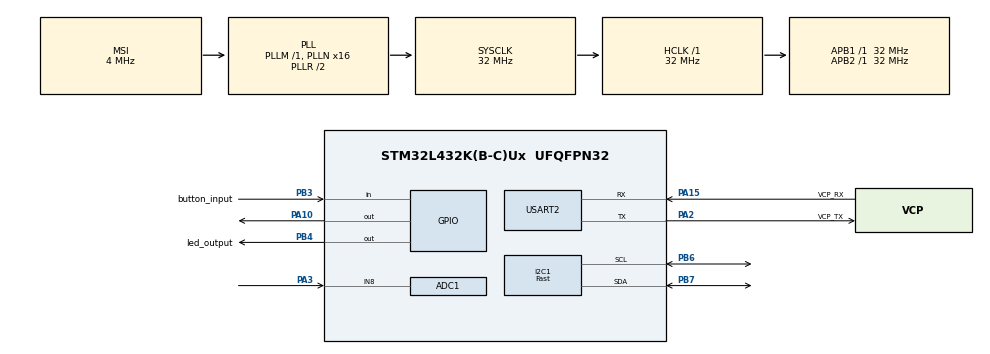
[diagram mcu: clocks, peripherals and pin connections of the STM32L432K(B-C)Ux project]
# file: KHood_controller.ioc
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ADC1.Channel-0\#ChannelRegularConversion=ADC_CHANNEL_8
ADC1.NbrOfConversionFlag=1
ADC1.master=1
I2C1.I2C_Speed_Mode=I2C_Fast
I2C1.Timing=0x00300F38
Mcu.Family=STM32L4
Mcu.Name=STM32L432K(B-C)Ux
Mcu.Package=UFQFPN32
NVIC.PriorityGroup=NVIC_PRIORITYGROUP_4
PA0.GPIO_Label=MCO [High speed clock in]
PA0.Mode=HSE-External-Clock-Source-for-LittleOrca
PA0.Signal=RCC_CK_IN
PA10.Signal=GPIO_Output
PA13\ (JTMS-SWDIO).GPIO_Label=SWDIO
PA13\ (JTMS-SWDIO).Mode=Serial_Wire
PA13\ (JTMS-SWDIO).Signal=SYS_JTMS-SWDIO
PA14\ (JTCK-SWCLK).GPIO_Label=SWCLK
PA14\ (JTCK-SWCLK).Mode=Serial_Wire
PA14\ (JTCK-SWCLK).Signal=SYS_JTCK-SWCLK
PA15\ (JTDI).GPIO_Label=VCP_RX
PA15\ (JTDI).Mode=Asynchronous
PA15\ (JTDI).Signal=USART2_RX
PA2.GPIO_Label=VCP_TX
PA2.Mode=Asynchronous
PA2.Signal=USART2_TX
PA3.GPIO_Mode=GPIO_MODE_ANALOG_ADC_CONTROL
PA3.GPIO_PuPd=GPIO_NOPULL
PA3.Signal=ADCx_IN8
PB3\ (JTDO-TRACESWO).GPIO_Label=button_input
PB3\ (JTDO-TRACESWO).Signal=GPIO_Input
PB4\ (NJTRST).GPIO_Label=led_output
PB4\ (NJTRST).Signal=GPIO_Output
PB6.Mode=I2C
PB6.Signal=I2C1_SCL
PB7.Mode=I2C
PB7.Signal=I2C1_SDA
PC14-OSC32_IN\ (PC14).Mode=LSE-External-Oscillator
PC14-OSC32_IN\ (PC14).Signal=RCC_OSC32_IN
PC15-OSC32_OUT\ (PC15).Mode=LSE-External-Oscillator
PC15-OSC32_OUT\ (PC15).Signal=RCC_OSC32_OUT
ProjectManager.HeapSize=0x200
ProjectManager.StackSize=0x400
ProjectManager.TargetToolchain=STM32CubeIDE
RCC.ADCFreq_Value=32000000
RCC.AHBFreq_Value=32000000
RCC.APB1Freq_Value=32000000
RCC.APB1TimFreq_Value=32000000
RCC.APB2Freq_Value=32000000
RCC.APB2TimFreq_Value=32000000
RCC.CortexFreq_Value=32000000
RCC.HCLKFreq_Value=32000000
RCC.HSE_VALUE=8000000
RCC.HSI16_VALUE=16000000
RCC.HSI48_VALUE=48000000
RCC.HSI_VALUE=16000000
RCC.MSI_VALUE=4000000
RCC.PLLMUL=RCC_PLLMUL_4
RCC.PLLN=16
RCC.PLLSAI1N=16
RCC.SYSCLKFreq_VALUE=32000000
RCC.SYSCLKSource=RCC_SYSCLKSOURCE_PLLCLK
RCC.USBFreq_Value=32000000
RCC.VCOOutputFreq_Value=64000000
SH.ADCx_IN8.0=ADC1_IN8,IN8-Single-Ended
USART2.VirtualMode-Asynchronous=VM_ASYNC
board=NUCLEO-L432KC

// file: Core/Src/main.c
/* USER CODE BEGIN Header */
/**
  ******************************************************************************
  * @file           : main.c
  * @brief          : Main program body
  ******************************************************************************
  * @attention
  *
  * Copyright (c) 2023 STMicroelectronics.
  * All rights reserved.
  *
  * This software is licensed under terms that can be found in the LICENSE file
  * in the root directory of this software component.
  * If no LICENSE file comes with this software, it is provided AS-IS.
  *
  ******************************************************************************
  */
/* USER CODE END Header */
#include "main.h"

/* USER CODE BEGIN Includes */
#include "ssd1306.h"
#include "fonts.h"
#include "test.h"
#include "SHT31.h"
#include <stdio.h>
/* USER CODE END Includes */

ADC_HandleTypeDef hadc1;

I2C_HandleTypeDef hi2c1;

UART_HandleTypeDef huart2;

/* USER CODE BEGIN PV */
void SystemClock_Config(void);
static void MX_GPIO_Init(void);
static void MX_USART2_UART_Init(void);
static void MX_I2C1_Init(void);
/* USER CODE END PV */

void SystemClock_Config(void);
static void MX_GPIO_Init(void);
static void MX_USART2_UART_Init(void);
static void MX_I2C1_Init(void);
static void MX_ADC1_Init(void);
/* USER CODE BEGIN PFP */
char *gcvt(double number, int ndigit, char *buf);
/* USER CODE END PFP */

int main(void)
{
  /* USER CODE BEGIN 1 */
  float temperature, humidity ;
  u_int16_t analog_in_value;
  char analog_buf[10];
  char temp_buf[16];
  char humid_buf[16];
  /* USER CODE END 1 */

  /* MCU Configuration--------------------------------------------------------*/

  /* Reset of all peripherals, Initializes the Flash interface and the Systick. */
  HAL_Init();

  /* Configure the system clock */
  SystemClock_Config();

  /* Initialize all configured peripherals */
  MX_GPIO_Init();
  MX_USART2_UART_Init();
  MX_I2C1_Init();
  MX_ADC1_Init();
  /* USER CODE BEGIN 2 */
  SSD1306_Init (); // initialize the display

  /* USER CODE END 2 */

  /* Infinite loop */
  while (1)
  {

    /* USER CODE BEGIN 3 */
	  HAL_ADC_Start(&hadc1);
	  HAL_ADC_PollForConversion(&hadc1, HAL_MAX_DELAY);

	  analog_in_value = HAL_ADC_GetValue(&hadc1);

	  SHT31_ReadTempHumidity(&temperature, &humidity);
	  gcvt(temperature, 4, temp_buf);
	  gcvt(humidity, 4, humid_buf);
	  gcvt(analog_in_value, 8, analog_buf);
	  SSD1306_GotoXY (10,10); // goto 10, 10
	  SSD1306_Puts ("temp:", &Font_11x18, 1);
	  SSD1306_GotoXY (65,10); // goto 10, 10
	  SSD1306_Puts (temp_buf, &Font_11x18, 1);
	  /*SSD1306_GotoXY (10,30); // goto 10, 10
	  SSD1306_Puts ("humid:", &Font_11x18, 1); // print Hello
	  SSD1306_GotoXY (75, 30);
	  SSD1306_Puts (humid_buf, &Font_11x18, 1);*/
	  SSD1306_GotoXY (10,30); // goto 10, 10
	  SSD1306_Puts ("AnIn:", &Font_11x18, 1);
	  SSD1306_GotoXY (75, 30);
	  SSD1306_Puts (analog_buf, &Font_11x18, 1);
	  SSD1306_UpdateScreen(); // update screen
	  /*
	  if(HAL_GPIO_ReadPin(button_input_GPIO_Port, button_input_Pin))
	  	  {
		  HAL_GPIO_WritePin(led_output_GPIO_Port, led_output_Pin, GPIO_PIN_RESET);

		  SSD1306_GotoXY (10, 30);
		  SSD1306_Puts ("WORLD !!", &Font_11x18, 1);
		  SSD1306_GotoXY (10,10); // goto 10, 10
		  SSD1306_Puts ("        ", &Font_11x18, 1); // print Hello
		  SSD1306_UpdateScreen(); // update screen

	  	  }
	  else
		  {
		  HAL_GPIO_WritePin(led_output_GPIO_Port, led_output_Pin, GPIO_PIN_SET);

		  SSD1306_GotoXY (10, 30);
		  SSD1306_Puts ("        ", &Font_11x18, 1); // print Hello
		  SSD1306_GotoXY (10,10); // goto 10, 10
		  SSD1306_Puts ("HELLO", &Font_11x18, 1); // print Hello
		  SSD1306_UpdateScreen(); // update screen
		  }
		*/
	  HAL_Delay(100);
  }
  /* USER CODE END 3 */
}

void SystemClock_Config(void)
{
  RCC_OscInitTypeDef RCC_OscInitStruct = {0};
  RCC_ClkInitTypeDef RCC_ClkInitStruct = {0};

  /** Configure the main internal regulator output voltage
  */
  if (HAL_PWREx_ControlVoltageScaling(PWR_REGULATOR_VOLTAGE_SCALE1) != HAL_OK)
  {
    Error_Handler();
  }

  /** Configure LSE Drive Capability
  */
  HAL_PWR_EnableBkUpAccess();
  __HAL_RCC_LSEDRIVE_CONFIG(RCC_LSEDRIVE_LOW);

  /** Initializes the RCC Oscillators according to the specified parameters
  * in the RCC_OscInitTypeDef structure.
  */
  RCC_OscInitStruct.OscillatorType = RCC_OSCILLATORTYPE_LSE|RCC_OSCILLATORTYPE_MSI;
  RCC_OscInitStruct.LSEState = RCC_LSE_ON;
  RCC_OscInitStruct.MSIState = RCC_MSI_ON;
  RCC_OscInitStruct.MSICalibrationValue = 0;
  RCC_OscInitStruct.MSIClockRange = RCC_MSIRANGE_6;
  RCC_OscInitStruct.PLL.PLLState = RCC_PLL_ON;
  RCC_OscInitStruct.PLL.PLLSource = RCC_PLLSOURCE_MSI;
  RCC_OscInitStruct.PLL.PLLM = 1;
  RCC_OscInitStruct.PLL.PLLN = 16;
  RCC_OscInitStruct.PLL.PLLP = RCC_PLLP_DIV7;
  RCC_OscInitStruct.PLL.PLLQ = RCC_PLLQ_DIV2;
  RCC_OscInitStruct.PLL.PLLR = RCC_PLLR_DIV2;
  if (HAL_RCC_OscConfig(&RCC_OscInitStruct) != HAL_OK)
  {
    Error_Handler();
  }

  /** Initializes the CPU, AHB and APB buses clocks
  */
  RCC_ClkInitStruct.ClockType = RCC_CLOCKTYPE_HCLK|RCC_CLOCKTYPE_SYSCLK
                              |RCC_CLOCKTYPE_PCLK1|RCC_CLOCKTYPE_PCLK2;
  RCC_ClkInitStruct.SYSCLKSource = RCC_SYSCLKSOURCE_PLLCLK;
  RCC_ClkInitStruct.AHBCLKDivider = RCC_SYSCLK_DIV1;
  RCC_ClkInitStruct.APB1CLKDivider = RCC_HCLK_DIV1;
  RCC_ClkInitStruct.APB2CLKDivider = RCC_HCLK_DIV1;

  if (HAL_RCC_ClockConfig(&RCC_ClkInitStruct, FLASH_LATENCY_1) != HAL_OK)
  {
    Error_Handler();
  }

  /** Enable MSI Auto calibration
  */
  HAL_RCCEx_EnableMSIPLLMode();
}

static void MX_ADC1_Init(void)
{

  ADC_ChannelConfTypeDef sConfig = {0};

  /** Common config
  */
  hadc1.Instance = ADC1;
  hadc1.Init.ClockPrescaler = ADC_CLOCK_ASYNC_DIV1;
  hadc1.Init.Resolution = ADC_RESOLUTION_12B;
  hadc1.Init.DataAlign = ADC_DATAALIGN_RIGHT;
  hadc1.Init.ScanConvMode = ADC_SCAN_DISABLE;
  hadc1.Init.EOCSelection = ADC_EOC_SINGLE_CONV;
  hadc1.Init.LowPowerAutoWait = DISABLE;
  hadc1.Init.ContinuousConvMode = DISABLE;
  hadc1.Init.NbrOfConversion = 1;
  hadc1.Init.DiscontinuousConvMode = DISABLE;
  hadc1.Init.ExternalTrigConv = ADC_SOFTWARE_START;
  hadc1.Init.ExternalTrigConvEdge = ADC_EXTERNALTRIGCONVEDGE_NONE;
  hadc1.Init.DMAContinuousRequests = DISABLE;
  hadc1.Init.Overrun = ADC_OVR_DATA_PRESERVED;
  hadc1.Init.OversamplingMode = DISABLE;
  if (HAL_ADC_Init(&hadc1) != HAL_OK)
  {
    Error_Handler();
  }

  /** Configure Regular Channel
  */
  sConfig.Channel = ADC_CHANNEL_8;
  sConfig.Rank = ADC_REGULAR_RANK_1;
  sConfig.SamplingTime = ADC_SAMPLETIME_2CYCLES_5;
  sConfig.SingleDiff = ADC_SINGLE_ENDED;
  sConfig.OffsetNumber = ADC_OFFSET_NONE;
  sConfig.Offset = 0;
  if (HAL_ADC_ConfigChannel(&hadc1, &sConfig) != HAL_OK)
  {
    Error_Handler();
  }

}

static void MX_I2C1_Init(void)
{

  hi2c1.Instance = I2C1;
  hi2c1.Init.Timing = 0x00300F38;
  hi2c1.Init.OwnAddress1 = 0;
  hi2c1.Init.AddressingMode = I2C_ADDRESSINGMODE_7BIT;
  hi2c1.Init.DualAddressMode = I2C_DUALADDRESS_DISABLE;
  hi2c1.Init.OwnAddress2 = 0;
  hi2c1.Init.OwnAddress2Masks = I2C_OA2_NOMASK;
  hi2c1.Init.GeneralCallMode = I2C_GENERALCALL_DISABLE;
  hi2c1.Init.NoStretchMode = I2C_NOSTRETCH_DISABLE;
  if (HAL_I2C_Init(&hi2c1) != HAL_OK)
  {
    Error_Handler();
  }

  /** Configure Analogue filter
  */
  if (HAL_I2CEx_ConfigAnalogFilter(&hi2c1, I2C_ANALOGFILTER_ENABLE) != HAL_OK)
  {
    Error_Handler();
  }

  /** Configure Digital filter
  */
  if (HAL_I2CEx_ConfigDigitalFilter(&hi2c1, 0) != HAL_OK)
  {
    Error_Handler();
  }

}

static void MX_USART2_UART_Init(void)
{

  huart2.Instance = USART2;
  huart2.Init.BaudRate = 115200;
  huart2.Init.WordLength = UART_WORDLENGTH_8B;
  huart2.Init.StopBits = UART_STOPBITS_1;
  huart2.Init.Parity = UART_PARITY_NONE;
  huart2.Init.Mode = UART_MODE_TX_RX;
  huart2.Init.HwFlowCtl = UART_HWCONTROL_NONE;
  huart2.Init.OverSampling = UART_OVERSAMPLING_16;
  huart2.Init.OneBitSampling = UART_ONE_BIT_SAMPLE_DISABLE;
  huart2.AdvancedInit.AdvFeatureInit = UART_ADVFEATURE_NO_INIT;
  if (HAL_UART_Init(&huart2) != HAL_OK)
  {
    Error_Handler();
  }

}

static void MX_GPIO_Init(void)
{
  GPIO_InitTypeDef GPIO_InitStruct = {0};

  /* GPIO Ports Clock Enable */
  __HAL_RCC_GPIOC_CLK_ENABLE();
  __HAL_RCC_GPIOA_CLK_ENABLE();
  __HAL_RCC_GPIOB_CLK_ENABLE();

  /*Configure GPIO pin Output Level */
  HAL_GPIO_WritePin(GPIOA, GPIO_PIN_10, GPIO_PIN_RESET);

  /*Configure GPIO pin Output Level */
  HAL_GPIO_WritePin(led_output_GPIO_Port, led_output_Pin, GPIO_PIN_RESET);

  /*Configure GPIO pin : PA10 */
  GPIO_InitStruct.Pin = GPIO_PIN_10;
  GPIO_InitStruct.Mode = GPIO_MODE_OUTPUT_PP;
  GPIO_InitStruct.Pull = GPIO_NOPULL;
  GPIO_InitStruct.Speed = GPIO_SPEED_FREQ_LOW;
  HAL_GPIO_Init(GPIOA, &GPIO_InitStruct);

  /*Configure GPIO pin : button_input_Pin */
  GPIO_InitStruct.Pin = button_input_Pin;
  GPIO_InitStruct.Mode = GPIO_MODE_INPUT;
  GPIO_InitStruct.Pull = GPIO_NOPULL;
  HAL_GPIO_Init(button_input_GPIO_Port, &GPIO_InitStruct);

  /*Configure GPIO pin : led_output_Pin */
  GPIO_InitStruct.Pin = led_output_Pin;
  GPIO_InitStruct.Mode = GPIO_MODE_OUTPUT_PP;
  GPIO_InitStruct.Pull = GPIO_NOPULL;
  GPIO_InitStruct.Speed = GPIO_SPEED_FREQ_LOW;
  HAL_GPIO_Init(led_output_GPIO_Port, &GPIO_InitStruct);

}

void Error_Handler(void)
{
  __disable_irq();
  while (1)
  {
  }
}
